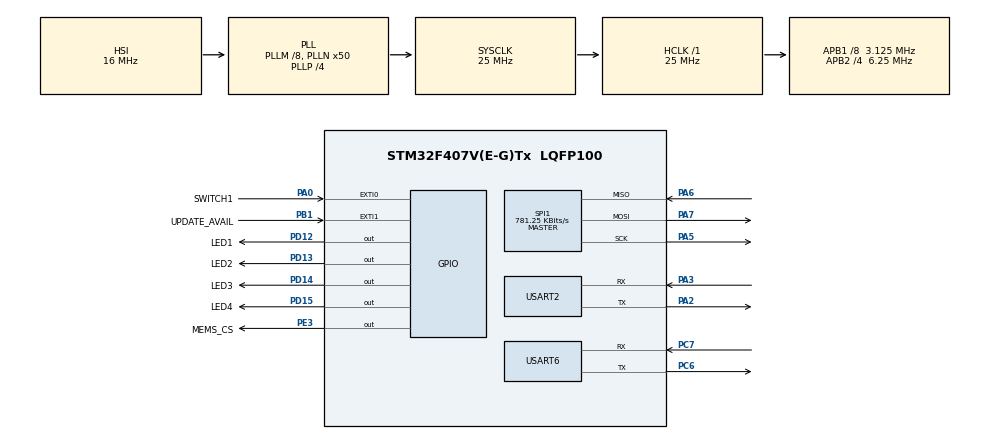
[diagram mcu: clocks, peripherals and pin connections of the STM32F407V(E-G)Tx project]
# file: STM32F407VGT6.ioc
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Mcu.Family=STM32F4
Mcu.Name=STM32F407V(E-G)Tx
Mcu.Package=LQFP100
NVIC.EXTI0_IRQn=true\:0\:0\:false\:false\:true\:true\:true
NVIC.EXTI1_IRQn=true\:0\:0\:false\:false\:true\:true\:true
NVIC.PriorityGroup=NVIC_PRIORITYGROUP_4
NVIC.SPI1_IRQn=true\:0\:0\:false\:false\:true\:true\:true
PA0-WKUP.GPIO_Label=SWITCH1
PA0-WKUP.Signal=GPXTI0
PA2.Mode=Asynchronous
PA2.Signal=USART2_TX
PA3.Mode=Asynchronous
PA3.Signal=USART2_RX
PA5.Mode=Full_Duplex_Master
PA5.Signal=SPI1_SCK
PA6.Mode=Full_Duplex_Master
PA6.Signal=SPI1_MISO
PA7.Mode=Full_Duplex_Master
PA7.Signal=SPI1_MOSI
PB1.GPIO_Label=UPDATE_AVAIL
PB1.Signal=GPXTI1
PC6.Mode=Asynchronous
PC6.Signal=USART6_TX
PC7.Mode=Asynchronous
PC7.Signal=USART6_RX
PD12.GPIO_Label=LED1
PD12.Signal=GPIO_Output
PD13.GPIO_Label=LED2
PD13.Signal=GPIO_Output
PD14.GPIO_Label=LED3
PD14.Signal=GPIO_Output
PD15.GPIO_Label=LED4
PD15.Signal=GPIO_Output
PE3.GPIO_Label=MEMS_CS
PE3.PinState=GPIO_PIN_SET
PE3.Signal=GPIO_Output
ProjectManager.HeapSize=0x200
ProjectManager.StackSize=0x400
ProjectManager.TargetToolchain=MDK-ARM V5
RCC.48MHZClocksFreq_Value=25000000
RCC.AHBFreq_Value=25000000
RCC.APB1CLKDivider=RCC_HCLK_DIV8
RCC.APB1Freq_Value=3125000
RCC.APB1TimFreq_Value=6250000
RCC.APB2CLKDivider=RCC_HCLK_DIV4
RCC.APB2Freq_Value=6250000
RCC.APB2TimFreq_Value=12500000
RCC.CortexFreq_Value=25000000
RCC.HCLKFreq_Value=25000000
RCC.HSE_VALUE=25000000
RCC.HSI_VALUE=16000000
RCC.LSE_VALUE=32768
RCC.PLLM=8
RCC.PLLN=50
RCC.PLLP=RCC_PLLP_DIV4
RCC.SYSCLKFreq_VALUE=25000000
RCC.SYSCLKSource=RCC_SYSCLKSOURCE_PLLCLK
RCC.VCOOutputFreq_Value=100000000
SPI1.BaudRatePrescaler=SPI_BAUDRATEPRESCALER_8
SPI1.CalculateBaudRate=781.25 KBits/s
SPI1.Direction=SPI_DIRECTION_2LINES
SPI1.Mode=SPI_MODE_MASTER
SPI1.VirtualType=VM_MASTER
USART2.VirtualMode=VM_ASYNC
USART6.VirtualMode=VM_ASYNC
board=custom

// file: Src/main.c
/* USER CODE BEGIN Header */
/**
  ******************************************************************************
  * @file           : main.c
  * @brief          : Main program body
  ******************************************************************************
  * @attention
  *
  * <h2><center>&copy; Copyright (c) 2019 STMicroelectronics.
  * All rights reserved.</center></h2>
  *
  * This software component is licensed by ST under BSD 3-Clause license,
  * the "License"; You may not use this file except in compliance with the
  * License. You may obtain a copy of the License at:
  *                        opensource.org/licenses/BSD-3-Clause
  *
  ******************************************************************************
  */
/* USER CODE END Header */

#include "main.h"

/* USER CODE BEGIN PD */
#define STM32F407VGT6
#ifdef STM32F407VGT6
	#define SECTOR_NO 			11
	#define SECTOR_ADDRESS 	0x080E0000
#else
	#define SECTOR_NO 			7
	#define SECTOR_ADDRESS 	0x08060000
#endif
/* USER CODE END PD */

SPI_HandleTypeDef hspi1;

UART_HandleTypeDef huart2;
UART_HandleTypeDef huart6;

void SystemClock_Config(void);
static void MX_GPIO_Init(void);
static void MX_SPI1_Init(void);
static void MX_USART2_UART_Init(void);
static void MX_USART6_UART_Init(void);

/* USER CODE BEGIN 0 */
BootSectorTypeDef bootSectorStatus;
uint32_t flag;					// For testing
/* USER CODE END 0 */

int main(void)
{
  /* USER CODE BEGIN 1 */

	bootSectorStatus.current 					= 0x08008000;	//sector 2
	bootSectorStatus.update						= 0x08010000;	//sector 4
	bootSectorStatus.updateAvailable	=	FALSE;

	write_to_flash(0, &bootSectorStatus,3);
	//flag = *(uint32_t *)(SECTOR_ADDRESS+8);	//for testing

  /* USER CODE END 1 */

  /* MCU Configuration--------------------------------------------------------*/

  /* Reset of all peripherals, Initializes the Flash interface and the Systick. */
  HAL_Init();

  /* Configure the system clock */
  SystemClock_Config();

  /* Initialize all configured peripherals */
  MX_GPIO_Init();
  MX_SPI1_Init();
  MX_USART2_UART_Init();
  MX_USART6_UART_Init();

  /* Infinite loop */
  while (1)
  {

    /* USER CODE BEGIN 3 */
		HAL_GPIO_TogglePin(GPIOD, GPIO_PIN_13);
		HAL_Delay(500);

		// Reading from Flash for testing
		//bootSectorStatus = *(BootSectorTypeDef *)SECTOR_ADDRESS;
  }
  /* USER CODE END 3 */
}

void SystemClock_Config(void)
{
  RCC_OscInitTypeDef RCC_OscInitStruct = {0};
  RCC_ClkInitTypeDef RCC_ClkInitStruct = {0};

  /** Configure the main internal regulator output voltage
  */
  __HAL_RCC_PWR_CLK_ENABLE();
  __HAL_PWR_VOLTAGESCALING_CONFIG(PWR_REGULATOR_VOLTAGE_SCALE1);
  /** Initializes the CPU, AHB and APB busses clocks
  */
  RCC_OscInitStruct.OscillatorType = RCC_OSCILLATORTYPE_HSI;
  RCC_OscInitStruct.HSIState = RCC_HSI_ON;
  RCC_OscInitStruct.HSICalibrationValue = RCC_HSICALIBRATION_DEFAULT;
  RCC_OscInitStruct.PLL.PLLState = RCC_PLL_ON;
  RCC_OscInitStruct.PLL.PLLSource = RCC_PLLSOURCE_HSI;
  RCC_OscInitStruct.PLL.PLLM = 8;
  RCC_OscInitStruct.PLL.PLLN = 50;
  RCC_OscInitStruct.PLL.PLLP = RCC_PLLP_DIV4;
  RCC_OscInitStruct.PLL.PLLQ = 4;
  if (HAL_RCC_OscConfig(&RCC_OscInitStruct) != HAL_OK)
  {
    Error_Handler();
  }
  /** Initializes the CPU, AHB and APB busses clocks
  */
  RCC_ClkInitStruct.ClockType = RCC_CLOCKTYPE_HCLK|RCC_CLOCKTYPE_SYSCLK
                              |RCC_CLOCKTYPE_PCLK1|RCC_CLOCKTYPE_PCLK2;
  RCC_ClkInitStruct.SYSCLKSource = RCC_SYSCLKSOURCE_PLLCLK;
  RCC_ClkInitStruct.AHBCLKDivider = RCC_SYSCLK_DIV1;
  RCC_ClkInitStruct.APB1CLKDivider = RCC_HCLK_DIV8;
  RCC_ClkInitStruct.APB2CLKDivider = RCC_HCLK_DIV4;

  if (HAL_RCC_ClockConfig(&RCC_ClkInitStruct, FLASH_LATENCY_0) != HAL_OK)
  {
    Error_Handler();
  }
}

static void MX_SPI1_Init(void)
{

  /* SPI1 parameter configuration*/
  hspi1.Instance = SPI1;
  hspi1.Init.Mode = SPI_MODE_MASTER;
  hspi1.Init.Direction = SPI_DIRECTION_2LINES;
  hspi1.Init.DataSize = SPI_DATASIZE_8BIT;
  hspi1.Init.CLKPolarity = SPI_POLARITY_LOW;
  hspi1.Init.CLKPhase = SPI_PHASE_1EDGE;
  hspi1.Init.NSS = SPI_NSS_SOFT;
  hspi1.Init.BaudRatePrescaler = SPI_BAUDRATEPRESCALER_8;
  hspi1.Init.FirstBit = SPI_FIRSTBIT_MSB;
  hspi1.Init.TIMode = SPI_TIMODE_DISABLE;
  hspi1.Init.CRCCalculation = SPI_CRCCALCULATION_DISABLE;
  hspi1.Init.CRCPolynomial = 10;
  if (HAL_SPI_Init(&hspi1) != HAL_OK)
  {
    Error_Handler();
  }

}

static void MX_USART2_UART_Init(void)
{

  huart2.Instance = USART2;
  huart2.Init.BaudRate = 115200;
  huart2.Init.WordLength = UART_WORDLENGTH_8B;
  huart2.Init.StopBits = UART_STOPBITS_1;
  huart2.Init.Parity = UART_PARITY_NONE;
  huart2.Init.Mode = UART_MODE_TX_RX;
  huart2.Init.HwFlowCtl = UART_HWCONTROL_NONE;
  huart2.Init.OverSampling = UART_OVERSAMPLING_16;
  if (HAL_UART_Init(&huart2) != HAL_OK)
  {
    Error_Handler();
  }

}

static void MX_USART6_UART_Init(void)
{

  huart6.Instance = USART6;
  huart6.Init.BaudRate = 115200;
  huart6.Init.WordLength = UART_WORDLENGTH_8B;
  huart6.Init.StopBits = UART_STOPBITS_1;
  huart6.Init.Parity = UART_PARITY_NONE;
  huart6.Init.Mode = UART_MODE_TX_RX;
  huart6.Init.HwFlowCtl = UART_HWCONTROL_NONE;
  huart6.Init.OverSampling = UART_OVERSAMPLING_16;
  if (HAL_UART_Init(&huart6) != HAL_OK)
  {
    Error_Handler();
  }

}

static void MX_GPIO_Init(void)
{
  GPIO_InitTypeDef GPIO_InitStruct = {0};

  /* GPIO Ports Clock Enable */
  __HAL_RCC_GPIOE_CLK_ENABLE();
  __HAL_RCC_GPIOA_CLK_ENABLE();
  __HAL_RCC_GPIOB_CLK_ENABLE();
  __HAL_RCC_GPIOD_CLK_ENABLE();
  __HAL_RCC_GPIOC_CLK_ENABLE();

  /*Configure GPIO pin Output Level */
  HAL_GPIO_WritePin(MEMS_CS_GPIO_Port, MEMS_CS_Pin, GPIO_PIN_SET);

  /*Configure GPIO pin Output Level */
  HAL_GPIO_WritePin(GPIOD, LED1_Pin|LED2_Pin|LED3_Pin|LED4_Pin, GPIO_PIN_RESET);

  /*Configure GPIO pin : MEMS_CS_Pin */
  GPIO_InitStruct.Pin = MEMS_CS_Pin;
  GPIO_InitStruct.Mode = GPIO_MODE_OUTPUT_PP;
  GPIO_InitStruct.Pull = GPIO_NOPULL;
  GPIO_InitStruct.Speed = GPIO_SPEED_FREQ_LOW;
  HAL_GPIO_Init(MEMS_CS_GPIO_Port, &GPIO_InitStruct);

  /*Configure GPIO pin : SWITCH1_Pin */
  GPIO_InitStruct.Pin = SWITCH1_Pin;
  GPIO_InitStruct.Mode = GPIO_MODE_IT_RISING;
  GPIO_InitStruct.Pull = GPIO_NOPULL;
  HAL_GPIO_Init(SWITCH1_GPIO_Port, &GPIO_InitStruct);

  /*Configure GPIO pin : UPDATE_AVAIL_Pin */
  GPIO_InitStruct.Pin = UPDATE_AVAIL_Pin;
  GPIO_InitStruct.Mode = GPIO_MODE_IT_RISING;
  GPIO_InitStruct.Pull = GPIO_NOPULL;
  HAL_GPIO_Init(UPDATE_AVAIL_GPIO_Port, &GPIO_InitStruct);

  /*Configure GPIO pins : LED1_Pin LED2_Pin LED3_Pin LED4_Pin */
  GPIO_InitStruct.Pin = LED1_Pin|LED2_Pin|LED3_Pin|LED4_Pin;
  GPIO_InitStruct.Mode = GPIO_MODE_OUTPUT_PP;
  GPIO_InitStruct.Pull = GPIO_NOPULL;
  GPIO_InitStruct.Speed = GPIO_SPEED_FREQ_LOW;
  HAL_GPIO_Init(GPIOD, &GPIO_InitStruct);

  /* EXTI interrupt init*/
  HAL_NVIC_SetPriority(EXTI0_IRQn, 0, 0);
  HAL_NVIC_EnableIRQ(EXTI0_IRQn);

  HAL_NVIC_SetPriority(EXTI1_IRQn, 0, 0);
  HAL_NVIC_EnableIRQ(EXTI1_IRQn);

}

/* USER CODE BEGIN 4 */

static void FLASH_EraseSector(void)
{
	HAL_FLASH_Unlock();
	FLASH_Erase_Sector(SECTOR_NO, FLASH_VOLTAGE_RANGE_3);
	HAL_FLASH_Lock();
}

void write_to_flash(uint32_t offSet, void *wrBuf, uint32_t Nsize)
{
	uint32_t flashAddress = SECTOR_ADDRESS + offSet;

	//Erase sector before write
	FLASH_EraseSector();				// This will increasing the latency by substancial amount

	//Unlock Flash
	HAL_FLASH_Unlock();
	//HAL_FLASH_Program(FLASH_TYPEPROGRAM_WORD, flashAddress + 8, 0xFFFFFFFF);
	//Write to Flash
	for(uint32_t i=0; i<Nsize; i++)
	{
		flag = ((uint32_t *)wrBuf)[i];
		HAL_FLASH_Program(FLASH_TYPEPROGRAM_WORD, flashAddress , ((uint32_t *)wrBuf)[i]);
		//HAL_Delay(2000);
		flashAddress+=4;
	}

	//Lock the Flash space
	HAL_FLASH_Lock();
}

//Defining callback for the external interrupt
void HAL_GPIO_EXTI_Callback(uint16_t GPIO_Pin)
{
  /* Prevent unused argument(s) compilation warning */
  UNUSED(GPIO_Pin);
  /* NOTE: This function Should not be modified, when the callback is needed,
           the HAL_GPIO_EXTI_Callback could be implemented in the user file
   */

	if(GPIO_Pin == GPIO_PIN_0)
	{
		// Update Switch Pressed
		bootSectorStatus = *(BootSectorTypeDef *)(uint32_t *)SECTOR_ADDRESS;	// Reading Boot status structure from flash
		if(bootSectorStatus.updateAvailable == TRUE)
		{
			//JUMP TO BOOTLOADER
			//{ JUMP CODE TO BE WRITTEN}
			HAL_GPIO_WritePin(GPIOD, GPIO_PIN_14,GPIO_PIN_SET);
			//for(uint32_t i=0; i<10000;i++);						// DEBOUNCING DELAY
		}
	}

	if(GPIO_Pin == GPIO_PIN_1)
	{
		// Update is available
		bootSectorStatus = *(BootSectorTypeDef *)(uint32_t *)SECTOR_ADDRESS; 	// Reading Boot status structure from flash
		bootSectorStatus.updateAvailable = TRUE;									// Setting Flag of update available
		write_to_flash(0, &bootSectorStatus,3);										// Writing the updated structure to flash
		HAL_GPIO_WritePin(GPIOD, GPIO_PIN_12, GPIO_PIN_SET);			// Making Green LED ON as a status of available update
		//bootSectorStatus.updateAvailable = FALSE;	// For TESTING
	}
}

/* USER CODE END 4 */

void Error_Handler(void)
{
}

/************************ (C) COPYRIGHT STMicroelectronics *****END OF FILE****/
